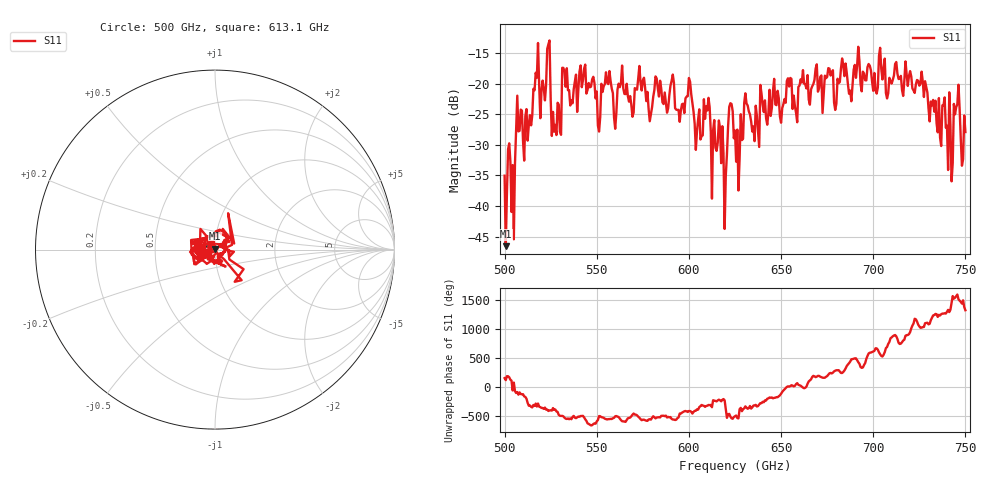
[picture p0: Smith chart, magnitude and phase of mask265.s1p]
!Created with skrf (http://scikit-rf.org).
# GHz S MA R 50.0
!freq magS11 angS11
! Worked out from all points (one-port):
!   401 points, 500 GHz to 750 GHz, reference 50 ohm
!   lowest |S11| = -46.6 dB at 500.6 GHz (marker M1), VSWR 1.01, Z = 49.8 + j0.433 ohm
!   |S11| at or under -10 dB: start of sweep to end of sweep
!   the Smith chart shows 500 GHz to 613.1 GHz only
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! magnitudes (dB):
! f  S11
! 500 GHz  -35.0
! 500.6 GHz  -46.6
! 504.4 GHz  -33.3
! 508.1 GHz  -27.7
! 513.8 GHz  -25.1
! 516.9 GHz  -18.2
! 520.6 GHz  -19.5
! 523.8 GHz  -13.6
! 526.9 GHz  -27.8
! 531.2 GHz  -17.4
! 542.5 GHz  -19.4
! 550.6 GHz  -26.9
! 562.5 GHz  -20.6
! 579.4 GHz  -24.9
! 590.6 GHz  -19.5
! 593.8 GHz  -24.3
! 609.4 GHz  -23.7
! 618.8 GHz  -31.3
! 622.5 GHz  -23.2
! 625 GHz  -27.7
! 656.2 GHz  -24.1
! 683.8 GHz  -17.0
! 687.5 GHz  -21.1
! 691.2 GHz  -17.1
! 718.8 GHz  -20.3
! 741.9 GHz  -26.8
! 745 GHz  -23.8
! 750 GHz  -27.9
